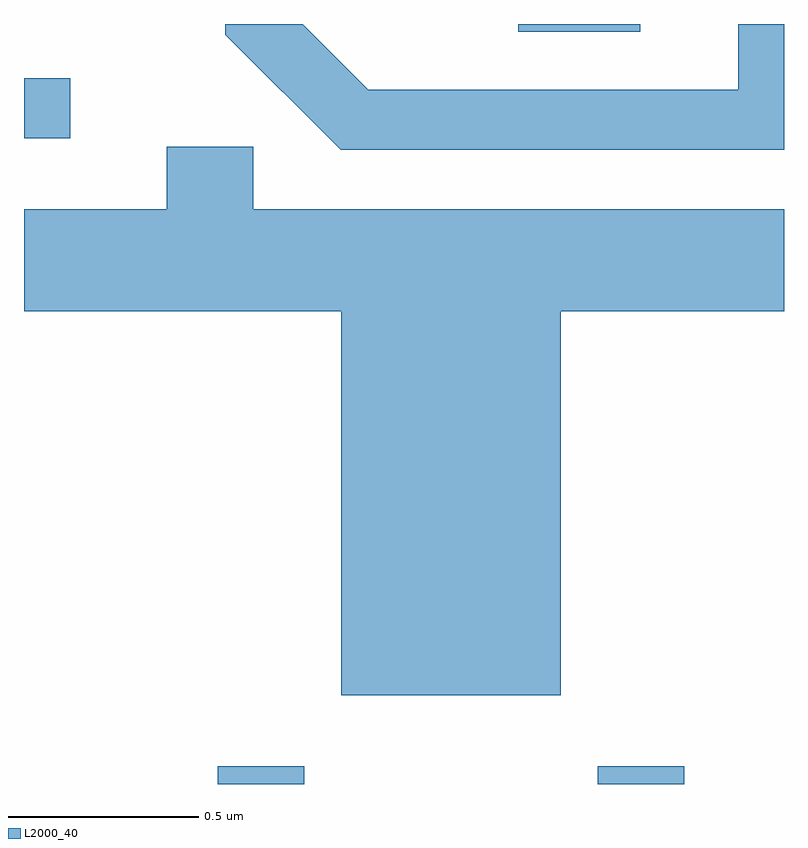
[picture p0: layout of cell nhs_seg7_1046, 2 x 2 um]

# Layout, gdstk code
import gdstk
lib = gdstk.Library(unit=1e-6, precision=1e-09)
def R(c, l, rs):  # rectangles x0, y0, x1, y1
    for r in rs: c.add(gdstk.rectangle(r[:2], r[2:], *l))
def P(c, l, *ps):  # polygons
    for p in ps: c.add(gdstk.Polygon(p, *l))
L2000_40 = (2000, 40)

nhs_seg7_1046 = lib.new_cell('nhs_seg7_1046')
R(nhs_seg7_1046, L2000_40, [(193.121,1755.252,193.349,1755.299), (194.121,1755.252,194.349,1755.299), (192.611,1756.951,192.733,1757.109), (193.911,1757.231,194.233,1757.252)])
P(nhs_seg7_1046, L2000_40, [(194.611,1757.252),(194.491,1757.252),(194.491,1757.079),(193.517,1757.079),(193.344,1757.252),(193.141,1757.252),(193.141,1757.224),(193.444,1756.921),(194.611,1756.921)],
  [(194.024,1756.496),(194.611,1756.496),(194.611,1756.764),(193.214,1756.764),(193.214,1756.929),(192.986,1756.929),(192.986,1756.764),(192.611,1756.764),(192.611,1756.496),(193.446,1756.496),(193.446,1755.486),(194.024,1755.486)])

lib.write_gds('nhs_seg7_1046.gds')
